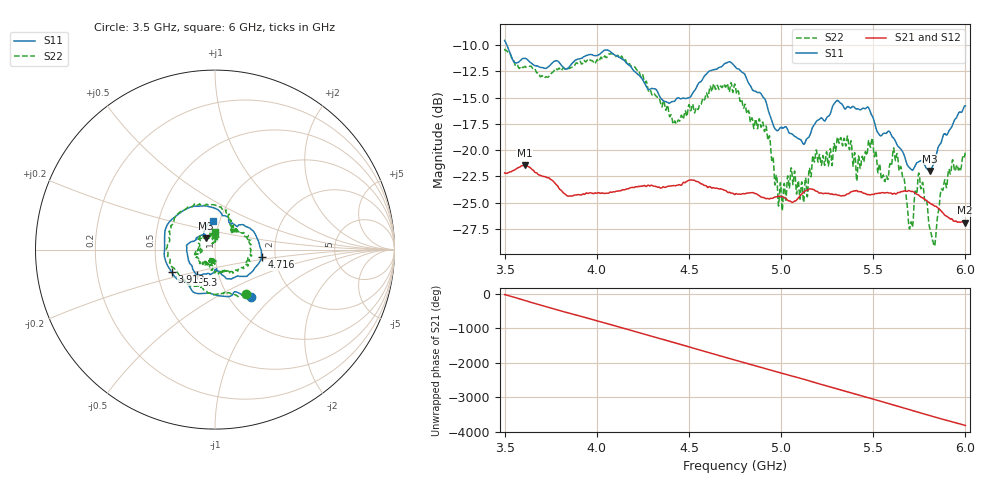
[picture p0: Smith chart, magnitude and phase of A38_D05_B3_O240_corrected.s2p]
! Created with skrf 1.9.0 (http://scikit-rf.org).
# Hz S RI R 50.0
!freq ReS11 ImS11 ReS21 ImS21 ReS12 ImS12 ReS22 ImS22
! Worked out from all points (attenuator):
!   1601 points, 3.5 GHz to 6 GHz, reference 50 ohm
!   highest |S21| = -21.42 dB at 3.609 GHz (marker M1); lowest = -26.9 dB at 5.997 GHz (marker M2)
!   lowest |S11| = -22.0 dB at 5.806 GHz (marker M3), VSWR 1.17, Z = 44.9 + j5.64 ohm
!   |S11| at or under -10 dB: 3.512 GHz to end of sweep
!   |S22| runs from -29.1 to -10.4 dB; largest |S21 - S12| = 0.00083
!   S11 on the Smith chart (normalised r, x): 3.5 GHz: 1.26, -0.75; 3.913 GHz: 0.59, -0.16; 4.716 GHz: 1.69, -0.14; 5.3 GHz: 0.79, -0.23; 6 GHz: 0.93, +0.31
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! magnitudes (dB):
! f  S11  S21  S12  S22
! 3.5 GHz  -9.6  -22.2  -22.1  -10.4
! 3.609 GHz  -11.3  -21.4  -21.4  -12.0
! 3.913 GHz  -11.3  -24.3  -24.2  -11.6
! 3.917 GHz  -11.3  -24.2  -24.2  -11.8
! 4.127 GHz  -11.2  -23.8  -23.8  -11.3
! 4.334 GHz  -14.6  -23.5  -23.5  -15.1
! 4.425 GHz  -15.3  -23.4  -23.4  -17.3
! 4.716 GHz  -11.6  -24.0  -24.1  -14.3
! 4.75 GHz  -12.1  -24.2  -24.1  -13.8
! 4.927 GHz  -15.9  -24.6  -24.6  -18.9
! 4.997 GHz  -17.9  -24.4  -24.4  -23.1
! 5.167 GHz  -18.0  -23.7  -23.7  -21.5
! 5.3 GHz  -15.3  -24.2  -24.2  -19.6
! 5.584 GHz  -18.2  -24.1  -24.0  -22.1
! 5.622 GHz  -19.2  -24.2  -24.1  -20.9
! 5.703 GHz  -21.8  -23.9  -23.9  -26.9
! 5.756 GHz  -21.0  -24.4  -24.4  -23.5
! 5.806 GHz  -22.0  -25.0  -25.0  -27.4
! 5.83 GHz  -21.2  -25.3  -25.2  -29.1
! 5.877 GHz  -18.8  -25.9  -25.9  -23.8
! 5.997 GHz  -15.8  -26.9  -26.8  -20.5
! 6 GHz  -15.8  -26.9  -26.8  -20.1
